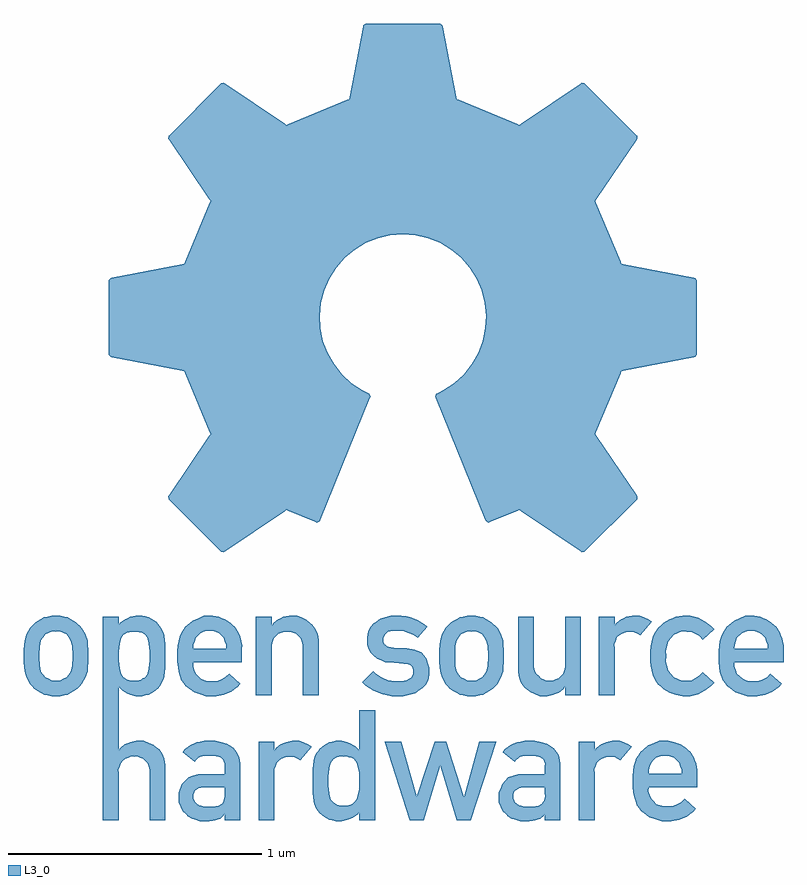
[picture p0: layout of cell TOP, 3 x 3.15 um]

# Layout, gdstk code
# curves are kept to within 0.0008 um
import gdstk
lib = gdstk.Library(unit=1e-6, precision=1e-09)
def P(c, l, *ps):  # polygons
    for p in ps: c.add(gdstk.Polygon(p, *l))
L1_0 = (1, 0)
L2_0 = (2, 0)
L3_0 = (3, 0)

top = lib.new_cell('TOP')
P(top, L3_0, [(0.789,1.063),(0.779,1.064),(0.57,1.273),(0.569,1.284),(0.736,1.53),(0.633,1.778),(0.341,1.835),(0.334,1.843),(0.334,2.138),(0.341,2.146),(0.633,2.202),(0.736,2.451),(0.572,2.692),(0.569,2.697),(0.57,2.708),(0.779,2.916),(0.789,2.917),(0.794,2.914),(1.036,2.751),(1.284,2.853),(1.34,3.145),(1.349,3.152),(1.643,3.152),(1.652,3.145),(1.708,2.853),(1.956,2.751),(2.198,2.914),(2.203,2.917),(2.213,2.916),(2.422,2.708),(2.423,2.697),(2.42,2.692),(2.256,2.451),(2.359,2.202),(2.651,2.146),(2.658,2.138),(2.658,1.843),(2.651,1.835),(2.359,1.778),(2.256,1.53),(2.423,1.284),(2.422,1.273),(2.213,1.064),(2.203,1.063),(2.198,1.066),(1.956,1.23),(1.836,1.18),(1.825,1.185),(1.626,1.673),(1.623,1.678),(1.628,1.69),(1.656,1.703),(1.699,1.731),(1.736,1.765),(1.768,1.805),(1.794,1.849),(1.812,1.897),(1.822,1.947),(1.825,1.998),(1.82,2.048),(1.807,2.098),(1.787,2.144),(1.76,2.187),(1.726,2.226),(1.687,2.258),(1.644,2.285),(1.596,2.304),(1.547,2.316),(1.496,2.32),(1.445,2.316),(1.396,2.304),(1.349,2.285),(1.305,2.258),(1.266,2.226),(1.232,2.187),(1.205,2.144),(1.185,2.098),(1.172,2.048),(1.167,1.998),(1.17,1.947),(1.18,1.897),(1.199,1.849),(1.224,1.805),(1.256,1.765),(1.293,1.731),(1.336,1.703),(1.364,1.69),(1.369,1.678),(1.366,1.673),(1.167,1.185),(1.156,1.18),(1.036,1.23)],
  [(1.523,0.004),(1.424,0.314),(1.49,0.314),(1.55,0.097),(1.551,0.097),(1.621,0.314),(1.667,0.314),(1.737,0.097),(1.738,0.097),(1.797,0.314),(1.864,0.314),(1.764,0.004),(1.709,0.004),(1.644,0.221),(1.643,0.221),(1.578,0.004)],
  [(0.694,-0.001),(0.663,0.01),(0.646,0.02),(0.64,0.027),(0.626,0.039),(0.611,0.075),(0.611,0.112),(0.619,0.135),(0.72,0.135),(0.708,0.134),(0.688,0.13),(0.674,0.12),(0.667,0.105),(0.668,0.089),(0.675,0.075),(0.689,0.063),(0.712,0.057),(0.725,0.058),(0.741,0.057),(0.769,0.061),(0.779,0.067),(0.788,0.078),(0.793,0.097),(0.793,0.135),(0.619,0.135),(0.623,0.146),(0.649,0.173),(0.687,0.186),(0.793,0.186),(0.793,0.228),(0.785,0.245),(0.778,0.25),(0.769,0.255),(0.745,0.259),(0.721,0.259),(0.703,0.257),(0.688,0.251),(0.677,0.241),(0.674,0.235),(0.626,0.272),(0.634,0.284),(0.656,0.301),(0.682,0.313),(0.712,0.318),(0.754,0.318),(0.8,0.307),(0.827,0.289),(0.84,0.273),(0.849,0.253),(0.853,0.228),(0.853,0.003),(0.793,0.003),(0.793,0.03),(0.792,0.03),(0.787,0.022),(0.774,0.01),(0.755,0.003),(0.731,-0.001)],
  [(0.926,0.004),(0.926,0.314),(0.988,0.314),(0.988,0.281),(0.996,0.29),(1.014,0.304),(1.035,0.313),(1.058,0.318),(1.087,0.318),(1.12,0.305),(1.135,0.294),(1.09,0.24),(1.08,0.247),(1.059,0.255),(1.037,0.255),(1.016,0.247),(0.997,0.232),(0.988,0.206),(0.988,0.004)],
  [(1.959,-0.001),(1.927,0.01),(1.911,0.02),(1.89,0.039),(1.875,0.075),(1.875,0.112),(1.884,0.135),(1.985,0.135),(1.973,0.134),(1.953,0.13),(1.939,0.12),(1.932,0.105),(1.932,0.089),(1.939,0.075),(1.953,0.063),(1.976,0.057),(1.989,0.058),(2.006,0.057),(2.033,0.061),(2.047,0.07),(2.052,0.078),(2.058,0.097),(2.057,0.135),(1.884,0.135),(1.888,0.146),(1.913,0.173),(1.952,0.186),(2.057,0.186),(2.058,0.228),(2.05,0.245),(2.033,0.255),(2.009,0.259),(1.986,0.259),(1.968,0.257),(1.953,0.251),(1.942,0.241),(1.938,0.235),(1.891,0.272),(1.899,0.284),(1.921,0.301),(1.947,0.313),(1.977,0.318),(2.018,0.318),(2.065,0.307),(2.092,0.289),(2.105,0.273),(2.113,0.253),(2.118,0.228),(2.118,0.003),(2.057,0.003),(2.057,0.03),(2.056,0.03),(2.052,0.022),(2.039,0.01),(2.02,0.003),(1.995,-0.001)],
  [(2.191,0.004),(2.191,0.314),(2.254,0.314),(2.254,0.281),(2.262,0.29),(2.279,0.304),(2.3,0.313),(2.324,0.318),(2.353,0.318),(2.386,0.305),(2.4,0.294),(2.355,0.24),(2.346,0.247),(2.325,0.255),(2.303,0.255),(2.281,0.247),(2.263,0.232),(2.253,0.206),(2.254,0.19),(2.254,0.004)],
  [(2.518,0),(2.47,0.016),(2.438,0.039),(2.421,0.064),(2.41,0.096),(2.407,0.114),(2.404,0.136),(2.404,0.179),(2.409,0.217),(2.419,0.249),(2.426,0.259),(2.519,0.259),(2.495,0.25),(2.477,0.231),(2.467,0.203),(2.467,0.187),(2.598,0.187),(2.597,0.203),(2.588,0.231),(2.569,0.25),(2.545,0.259),(2.426,0.259),(2.435,0.274),(2.465,0.3),(2.509,0.318),(2.545,0.318),(2.569,0.313),(2.58,0.309),(2.592,0.304),(2.613,0.291),(2.631,0.274),(2.646,0.253),(2.655,0.228),(2.66,0.201),(2.66,0.135),(2.467,0.135),(2.466,0.118),(2.477,0.088),(2.498,0.068),(2.526,0.059),(2.56,0.059),(2.595,0.075),(2.609,0.089),(2.654,0.05),(2.643,0.037),(2.617,0.018),(2.588,0.006),(2.557,0)],
  [(1.231,0),(1.205,0.006),(1.185,0.017),(1.168,0.031),(1.154,0.049),(1.145,0.069),(1.141,0.095),(1.139,0.135),(1.14,0.208),(1.141,0.223),(1.145,0.249),(1.148,0.256),(1.273,0.256),(1.263,0.255),(1.253,0.256),(1.235,0.252),(1.221,0.244),(1.212,0.232),(1.206,0.209),(1.201,0.176),(1.201,0.143),(1.206,0.109),(1.212,0.085),(1.221,0.074),(1.235,0.066),(1.253,0.062),(1.273,0.062),(1.291,0.066),(1.304,0.074),(1.314,0.086),(1.315,0.094),(1.324,0.126),(1.324,0.192),(1.314,0.231),(1.304,0.244),(1.291,0.252),(1.273,0.256),(1.148,0.256),(1.154,0.269),(1.168,0.286),(1.185,0.301),(1.205,0.312),(1.231,0.318),(1.255,0.318),(1.277,0.313),(1.308,0.297),(1.324,0.281),(1.324,0.439),(1.387,0.439),(1.387,0.004),(1.324,0.004),(1.324,0.036),(1.317,0.028),(1.298,0.014),(1.288,0.009),(1.277,0.005),(1.255,0)],
  [(2.037,0.494),(2.001,0.509),(1.977,0.528),(1.964,0.545),(1.956,0.566),(1.952,0.589),(1.952,0.808),(2.014,0.808),(2.014,0.609),(2.023,0.583),(2.04,0.565),(2.063,0.556),(2.088,0.556),(2.111,0.565),(2.129,0.583),(2.133,0.595),(2.137,0.609),(2.137,0.808),(2.199,0.808),(2.199,0.498),(2.137,0.498),(2.137,0.531),(2.136,0.531),(2.129,0.522),(2.111,0.508),(2.091,0.499),(2.067,0.494)],
  [(0.109,0.494),(0.079,0.5),(0.056,0.513),(0.046,0.52),(0.038,0.526),(0.022,0.543),(0.009,0.566),(0.001,0.593),(-0.003,0.631),(-0.003,0.675),(-0.001,0.697),(0.001,0.713),(0.005,0.728),(0.009,0.74),(0.015,0.75),(0.141,0.75),(0.125,0.749),(0.11,0.75),(0.083,0.738),(0.066,0.715),(0.061,0.691),(0.06,0.667),(0.061,0.615),(0.066,0.591),(0.083,0.568),(0.096,0.562),(0.11,0.556),(0.141,0.556),(0.167,0.568),(0.184,0.591),(0.189,0.614),(0.191,0.638),(0.19,0.681),(0.189,0.691),(0.184,0.714),(0.167,0.738),(0.141,0.75),(0.015,0.75),(0.022,0.762),(0.038,0.779),(0.056,0.793),(0.078,0.806),(0.109,0.812),(0.142,0.812),(0.172,0.806),(0.204,0.786),(0.228,0.762),(0.241,0.74),(0.25,0.713),(0.253,0.675),(0.253,0.631),(0.25,0.593),(0.241,0.566),(0.228,0.543),(0.212,0.526),(0.204,0.52),(0.172,0.5),(0.142,0.494)],
  [(0.31,0.004),(0.31,0.749),(0.424,0.749),(0.406,0.746),(0.392,0.737),(0.383,0.725),(0.377,0.702),(0.373,0.669),(0.373,0.636),(0.377,0.603),(0.383,0.58),(0.392,0.568),(0.406,0.56),(0.424,0.556),(0.444,0.556),(0.454,0.558),(0.462,0.56),(0.476,0.567),(0.485,0.579),(0.491,0.603),(0.496,0.636),(0.496,0.669),(0.491,0.703),(0.485,0.726),(0.476,0.738),(0.462,0.746),(0.444,0.749),(0.31,0.749),(0.31,0.808),(0.373,0.808),(0.373,0.775),(0.38,0.784),(0.399,0.798),(0.419,0.807),(0.441,0.812),(0.466,0.812),(0.491,0.806),(0.522,0.789),(0.542,0.763),(0.551,0.743),(0.556,0.717),(0.558,0.677),(0.558,0.628),(0.556,0.588),(0.551,0.562),(0.542,0.543),(0.536,0.534),(0.529,0.525),(0.512,0.511),(0.491,0.5),(0.466,0.494),(0.441,0.494),(0.419,0.499),(0.389,0.515),(0.373,0.531),(0.373,0.281),(0.381,0.29),(0.398,0.304),(0.419,0.313),(0.443,0.318),(0.473,0.318),(0.509,0.303),(0.524,0.29),(0.533,0.284),(0.55,0.257),(0.554,0.246),(0.558,0.223),(0.558,0.004),(0.496,0.004),(0.496,0.203),(0.487,0.229),(0.47,0.246),(0.447,0.256),(0.434,0.255),(0.422,0.256),(0.399,0.246),(0.381,0.229),(0.372,0.203),(0.373,0.189),(0.373,0.004)],
  [(0.718,0.494),(0.671,0.51),(0.638,0.533),(0.621,0.557),(0.61,0.59),(0.605,0.63),(0.605,0.673),(0.61,0.711),(0.62,0.743),(0.626,0.753),(0.72,0.753),(0.695,0.743),(0.677,0.724),(0.667,0.697),(0.667,0.681),(0.798,0.681),(0.798,0.697),(0.788,0.724),(0.77,0.743),(0.746,0.753),(0.626,0.753),(0.636,0.768),(0.665,0.793),(0.71,0.812),(0.745,0.812),(0.769,0.807),(0.781,0.803),(0.792,0.798),(0.813,0.785),(0.832,0.768),(0.846,0.746),(0.856,0.722),(0.861,0.694),(0.86,0.629),(0.667,0.629),(0.667,0.612),(0.677,0.582),(0.698,0.562),(0.712,0.557),(0.726,0.553),(0.76,0.553),(0.795,0.568),(0.809,0.583),(0.854,0.544),(0.843,0.531),(0.817,0.512),(0.788,0.5),(0.758,0.494)],
  [(0.915,0.498),(0.915,0.808),(0.977,0.808),(0.977,0.775),(0.979,0.775),(0.985,0.784),(1.003,0.798),(1.024,0.807),(1.047,0.812),(1.078,0.812),(1.114,0.797),(1.137,0.777),(1.15,0.76),(1.159,0.74),(1.163,0.717),(1.163,0.498),(1.1,0.498),(1.1,0.683),(1.101,0.697),(1.092,0.723),(1.074,0.74),(1.052,0.749),(1.027,0.749),(1.003,0.74),(0.986,0.723),(0.977,0.697),(0.977,0.498)],
  [(1.453,0.494),(1.417,0.501),(1.381,0.515),(1.349,0.536),(1.336,0.549),(1.379,0.593),(1.389,0.583),(1.411,0.568),(1.437,0.558),(1.463,0.553),(1.489,0.553),(1.512,0.557),(1.529,0.567),(1.534,0.575),(1.538,0.583),(1.538,0.599),(1.536,0.605),(1.529,0.614),(1.523,0.618),(1.517,0.62),(1.5,0.623),(1.427,0.629),(1.394,0.642),(1.369,0.665),(1.362,0.68),(1.356,0.698),(1.356,0.727),(1.36,0.748),(1.368,0.766),(1.381,0.782),(1.406,0.8),(1.448,0.812),(1.49,0.812),(1.526,0.806),(1.555,0.795),(1.581,0.779),(1.593,0.769),(1.555,0.724),(1.537,0.736),(1.495,0.753),(1.459,0.753),(1.437,0.748),(1.424,0.737),(1.418,0.723),(1.418,0.71),(1.423,0.7),(1.432,0.692),(1.449,0.687),(1.522,0.682),(1.543,0.677),(1.569,0.667),(1.59,0.64),(1.601,0.607),(1.601,0.579),(1.596,0.558),(1.586,0.54),(1.572,0.525),(1.544,0.506),(1.497,0.494)],
  [(1.751,0.494),(1.721,0.5),(1.698,0.513),(1.688,0.52),(1.68,0.526),(1.664,0.543),(1.651,0.566),(1.643,0.593),(1.639,0.631),(1.639,0.675),(1.641,0.697),(1.643,0.713),(1.647,0.728),(1.651,0.74),(1.657,0.75),(1.783,0.75),(1.767,0.749),(1.752,0.75),(1.725,0.738),(1.708,0.715),(1.703,0.691),(1.702,0.667),(1.703,0.615),(1.708,0.591),(1.725,0.568),(1.738,0.562),(1.752,0.556),(1.783,0.556),(1.809,0.568),(1.826,0.591),(1.831,0.614),(1.833,0.638),(1.832,0.681),(1.831,0.691),(1.826,0.714),(1.809,0.738),(1.783,0.75),(1.657,0.75),(1.664,0.762),(1.68,0.779),(1.698,0.793),(1.72,0.806),(1.751,0.812),(1.784,0.812),(1.814,0.806),(1.846,0.786),(1.87,0.762),(1.883,0.74),(1.892,0.713),(1.895,0.675),(1.895,0.631),(1.892,0.593),(1.883,0.566),(1.87,0.543),(1.854,0.526),(1.846,0.52),(1.814,0.5),(1.784,0.494)],
  [(2.27,0.498),(2.27,0.808),(2.333,0.808),(2.333,0.775),(2.341,0.784),(2.358,0.798),(2.379,0.807),(2.403,0.812),(2.432,0.812),(2.465,0.799),(2.479,0.788),(2.434,0.734),(2.425,0.741),(2.404,0.749),(2.382,0.749),(2.36,0.741),(2.342,0.726),(2.332,0.699),(2.333,0.684),(2.333,0.498)],
  [(2.601,0.494),(2.575,0.499),(2.55,0.508),(2.527,0.522),(2.506,0.54),(2.489,0.565),(2.479,0.596),(2.473,0.633),(2.473,0.672),(2.479,0.709),(2.489,0.74),(2.506,0.765),(2.527,0.784),(2.55,0.798),(2.575,0.807),(2.601,0.812),(2.631,0.812),(2.663,0.804),(2.691,0.789),(2.715,0.77),(2.726,0.758),(2.68,0.717),(2.668,0.732),(2.635,0.749),(2.598,0.75),(2.566,0.737),(2.545,0.712),(2.535,0.674),(2.536,0.653),(2.535,0.631),(2.545,0.594),(2.566,0.568),(2.598,0.556),(2.635,0.556),(2.668,0.574),(2.68,0.589),(2.726,0.548),(2.715,0.536),(2.691,0.517),(2.663,0.502),(2.631,0.494)],
  [(2.857,0.494),(2.81,0.51),(2.777,0.533),(2.76,0.557),(2.749,0.59),(2.744,0.63),(2.744,0.673),(2.749,0.711),(2.759,0.743),(2.765,0.753),(2.859,0.753),(2.835,0.743),(2.816,0.724),(2.807,0.697),(2.806,0.681),(2.937,0.681),(2.937,0.697),(2.927,0.724),(2.909,0.743),(2.885,0.753),(2.765,0.753),(2.775,0.768),(2.805,0.793),(2.849,0.812),(2.884,0.812),(2.908,0.807),(2.92,0.803),(2.931,0.798),(2.952,0.785),(2.971,0.768),(2.985,0.746),(2.995,0.722),(3,0.694),(3,0.629),(2.806,0.629),(2.806,0.612),(2.816,0.582),(2.838,0.562),(2.851,0.557),(2.865,0.553),(2.899,0.553),(2.935,0.568),(2.948,0.583),(2.994,0.544),(2.983,0.531),(2.956,0.512),(2.927,0.5),(2.897,0.494)])
top.add(gdstk.FlexPath([(2.191,0.004),(2.191,0.314),(2.254,0.314),(2.254,0.281),(2.255,0.281),(2.262,0.29),(2.279,0.304),(2.29,0.309),(2.3,0.313),(2.324,0.318),(2.336,0.318),(2.344,0.318),(2.361,0.315),(2.369,0.312),(2.377,0.309),(2.393,0.3),(2.4,0.294),(2.355,0.24),(2.346,0.247),(2.335,0.252),(2.325,0.255),(2.314,0.255),(2.306,0.255),(2.292,0.252),(2.278,0.245),(2.272,0.24),(2.268,0.236),(2.26,0.226),(2.258,0.22),(2.256,0.213),(2.253,0.198),(2.254,0.19),(2.254,0.004),(2.191,0.004),(2.191,0.004)], 0, ends="flush", simple_path=True, layer=1, datatype=0))  # L1_0
top.add(gdstk.FlexPath([(1.263,0.255),(1.253,0.256),(1.243,0.254),(1.235,0.252),(1.228,0.248),(1.221,0.244),(1.212,0.232),(1.21,0.225),(1.206,0.209),(1.201,0.176),(1.201,0.159),(1.201,0.143),(1.206,0.109),(1.21,0.093),(1.212,0.085),(1.221,0.074),(1.228,0.07),(1.235,0.066),(1.243,0.064),(1.253,0.062),(1.263,0.062),(1.273,0.062),(1.283,0.064),(1.291,0.066),(1.298,0.07),(1.304,0.074),(1.314,0.086),(1.315,0.094),(1.32,0.11),(1.324,0.143),(1.324,0.159),(1.324,0.176),(1.32,0.208),(1.315,0.224),(1.314,0.231),(1.304,0.244),(1.298,0.248),(1.291,0.252),(1.283,0.253),(1.273,0.256),(1.263,0.255),(1.263,0.255)], 0, ends="flush", simple_path=True, layer=1, datatype=0))  # L1_0
top.add(gdstk.FlexPath([(1.709,0.004),(1.644,0.221),(1.643,0.221),(1.578,0.004),(1.523,0.004),(1.424,0.314),(1.49,0.314),(1.55,0.097),(1.551,0.097),(1.621,0.314),(1.667,0.314),(1.737,0.097),(1.738,0.097),(1.797,0.314),(1.864,0.314),(1.764,0.004),(1.709,0.004),(1.709,0.004)], 0, ends="flush", simple_path=True, layer=1, datatype=0))  # L1_0
top.add(gdstk.FlexPath([(0.86,0.629),(0.667,0.629),(0.667,0.621),(0.67,0.604),(0.672,0.596),(0.675,0.589),(0.683,0.577),(0.688,0.572),(0.693,0.567),(0.705,0.56),(0.712,0.557),(0.719,0.555),(0.734,0.553),(0.741,0.553),(0.75,0.553),(0.769,0.556),(0.777,0.56),(0.786,0.564),(0.802,0.576),(0.809,0.583),(0.854,0.544),(0.843,0.531),(0.83,0.521),(0.817,0.512),(0.802,0.506),(0.788,0.5),(0.758,0.494),(0.742,0.494),(0.73,0.494),(0.707,0.498),(0.695,0.502),(0.683,0.506),(0.66,0.518),(0.65,0.525),(0.644,0.529),(0.634,0.539),(0.63,0.545),(0.626,0.551),(0.619,0.565),(0.616,0.572),(0.61,0.59),(0.608,0.608),(0.605,0.63),(0.605,0.652),(0.605,0.673),(0.607,0.694),(0.61,0.711),(0.615,0.728),(0.62,0.743),(0.628,0.756),(0.632,0.762),(0.641,0.773),(0.646,0.777),(0.656,0.785),(0.677,0.798),(0.689,0.803),(0.699,0.807),(0.721,0.812),(0.733,0.812),(0.745,0.812),(0.769,0.807),(0.781,0.803),(0.792,0.798),(0.813,0.785),(0.822,0.776),(0.832,0.768),(0.846,0.746),(0.851,0.735),(0.856,0.722),(0.861,0.694),(0.86,0.681),(0.86,0.629),(0.86,0.629)], 0, ends="flush", simple_path=True, layer=1, datatype=0))  # L1_0
top.add(gdstk.FlexPath([(-0.003,0.653),(-0.003,0.675),(-0.001,0.697),(0.001,0.713),(0.005,0.728),(0.009,0.74),(0.022,0.762),(0.031,0.772),(0.038,0.779),(0.046,0.786),(0.056,0.793),(0.066,0.799),(0.072,0.802),(0.085,0.807),(0.092,0.808),(0.109,0.812),(0.125,0.812),(0.142,0.812),(0.158,0.808),(0.172,0.806),(0.184,0.799),(0.194,0.793),(0.204,0.786),(0.212,0.779),(0.219,0.772),(0.228,0.762),(0.241,0.74),(0.245,0.728),(0.25,0.713),(0.251,0.697),(0.253,0.675),(0.253,0.653),(0.253,0.631),(0.251,0.609),(0.25,0.593),(0.245,0.578),(0.241,0.566),(0.228,0.543),(0.219,0.534),(0.212,0.526),(0.204,0.52),(0.194,0.513),(0.184,0.507),(0.178,0.503),(0.165,0.499),(0.158,0.497),(0.142,0.494),(0.125,0.494),(0.109,0.494),(0.092,0.497),(0.079,0.5),(0.066,0.507),(0.056,0.513),(0.046,0.52),(0.038,0.526),(0.031,0.534),(0.022,0.543),(0.009,0.566),(0.005,0.578),(0.001,0.593),(-0.001,0.609),(-0.003,0.631),(-0.003,0.653),(-0.003,0.653)], 0, ends="flush", simple_path=True, layer=1, datatype=0))  # L1_0
top.add(gdstk.FlexPath([(1.639,0.653),(1.639,0.675),(1.641,0.697),(1.643,0.713),(1.647,0.728),(1.651,0.74),(1.664,0.762),(1.673,0.772),(1.68,0.779),(1.688,0.786),(1.698,0.793),(1.708,0.799),(1.714,0.802),(1.727,0.807),(1.734,0.808),(1.751,0.812),(1.767,0.812),(1.784,0.812),(1.8,0.808),(1.814,0.806),(1.826,0.799),(1.836,0.793),(1.846,0.786),(1.854,0.779),(1.861,0.772),(1.87,0.762),(1.883,0.74),(1.887,0.728),(1.892,0.713),(1.893,0.697),(1.895,0.675),(1.895,0.653),(1.895,0.631),(1.893,0.609),(1.892,0.593),(1.887,0.578),(1.883,0.566),(1.87,0.543),(1.861,0.534),(1.854,0.526),(1.846,0.52),(1.836,0.513),(1.826,0.507),(1.82,0.503),(1.807,0.499),(1.8,0.497),(1.784,0.494),(1.767,0.494),(1.751,0.494),(1.734,0.497),(1.721,0.5),(1.708,0.507),(1.698,0.513),(1.688,0.52),(1.68,0.526),(1.673,0.534),(1.664,0.543),(1.651,0.566),(1.647,0.578),(1.643,0.593),(1.641,0.609),(1.639,0.631),(1.639,0.653),(1.639,0.653)], 0, ends="flush", simple_path=True, layer=1, datatype=0))  # L1_0
top.add(gdstk.FlexPath([(0.793,0.003),(0.793,0.03),(0.792,0.03),(0.787,0.022),(0.774,0.01),(0.766,0.007),(0.755,0.003),(0.744,0.001),(0.731,-0.001),(0.717,-0.001),(0.706,-0.001),(0.683,0.003),(0.672,0.007),(0.663,0.01),(0.646,0.02),(0.64,0.027),(0.633,0.033),(0.622,0.048),(0.618,0.057),(0.614,0.065),(0.611,0.084),(0.611,0.094),(0.611,0.103),(0.614,0.121),(0.617,0.13),(0.62,0.138),(0.63,0.153),(0.636,0.159),(0.642,0.166),(0.658,0.176),(0.666,0.179),(0.677,0.183),(0.698,0.186),(0.709,0.186),(0.793,0.186),(0.793,0.219),(0.793,0.223),(0.791,0.233),(0.789,0.237),(0.787,0.241),(0.781,0.247),(0.778,0.25),(0.773,0.252),(0.763,0.256),(0.758,0.257),(0.745,0.259),(0.731,0.259),(0.721,0.259),(0.711,0.258),(0.703,0.257),(0.695,0.254),(0.688,0.251),(0.677,0.241),(0.674,0.235),(0.626,0.272),(0.634,0.284),(0.656,0.301),(0.669,0.307),(0.682,0.313),(0.696,0.315),(0.712,0.318),(0.728,0.318),(0.741,0.318),(0.766,0.315),(0.779,0.312),(0.79,0.31),(0.81,0.301),(0.819,0.295),(0.827,0.289),(0.84,0.273),(0.844,0.264),(0.849,0.253),(0.851,0.241),(0.853,0.228),(0.853,0.215),(0.853,0.003),(0.793,0.003),(0.793,0.003)], 0, ends="flush", simple_path=True, layer=1, datatype=0))  # L1_0
top.add(gdstk.FlexPath([(0.667,0.681),(0.798,0.681),(0.798,0.689),(0.795,0.704),(0.793,0.712),(0.79,0.718),(0.783,0.729),(0.778,0.734),(0.774,0.739),(0.764,0.746),(0.758,0.748),(0.752,0.751),(0.739,0.753),(0.733,0.753),(0.726,0.753),(0.713,0.751),(0.707,0.748),(0.701,0.746),(0.691,0.739),(0.687,0.734),(0.682,0.729),(0.675,0.718),(0.673,0.712),(0.67,0.704),(0.667,0.689),(0.667,0.681),(0.667,0.681)], 0, ends="flush", simple_path=True, layer=1, datatype=0))  # L1_0
top.add(gdstk.FlexPath([(0.793,0.112),(0.793,0.135),(0.72,0.135),(0.708,0.134),(0.697,0.132),(0.688,0.13),(0.68,0.124),(0.674,0.12),(0.671,0.113),(0.667,0.105),(0.668,0.097),(0.668,0.089),(0.671,0.082),(0.675,0.075),(0.681,0.07),(0.685,0.067),(0.694,0.062),(0.699,0.061),(0.712,0.057),(0.725,0.058),(0.741,0.057),(0.757,0.06),(0.763,0.061),(0.774,0.064),(0.779,0.067),(0.782,0.07),(0.785,0.074),(0.788,0.078),(0.789,0.083),(0.791,0.09),(0.793,0.105),(0.793,0.112),(0.793,0.112)], 0, ends="flush", simple_path=True, layer=1, datatype=0))  # L1_0
top.add(gdstk.FlexPath([(2.68,0.589),(2.726,0.548),(2.715,0.536),(2.691,0.517),(2.677,0.509),(2.67,0.505),(2.655,0.5),(2.648,0.498),(2.639,0.496),(2.623,0.494),(2.614,0.494),(2.601,0.494),(2.575,0.499),(2.563,0.503),(2.55,0.508),(2.527,0.522),(2.517,0.531),(2.506,0.54),(2.498,0.552),(2.489,0.565),(2.484,0.579),(2.479,0.596),(2.476,0.613),(2.473,0.633),(2.473,0.653),(2.473,0.672),(2.476,0.692),(2.479,0.709),(2.484,0.726),(2.489,0.74),(2.498,0.753),(2.506,0.765),(2.517,0.775),(2.527,0.784),(2.55,0.798),(2.563,0.802),(2.575,0.807),(2.601,0.812),(2.614,0.812),(2.623,0.812),(2.639,0.81),(2.648,0.808),(2.655,0.806),(2.67,0.8),(2.677,0.796),(2.691,0.789),(2.715,0.77),(2.726,0.758),(2.68,0.717),(2.674,0.724),(2.659,0.737),(2.651,0.741),(2.643,0.745),(2.625,0.749),(2.617,0.749),(2.607,0.749),(2.59,0.746),(2.581,0.743),(2.574,0.74),(2.561,0.731),(2.556,0.725),(2.551,0.718),(2.543,0.703),(2.541,0.695),(2.538,0.684),(2.536,0.663),(2.536,0.653),(2.536,0.642),(2.538,0.621),(2.541,0.61),(2.543,0.602),(2.551,0.587),(2.556,0.58),(2.561,0.574),(2.574,0.565),(2.581,0.562),(2.59,0.559),(2.607,0.556),(2.617,0.556),(2.625,0.556),(2.643,0.56),(2.651,0.564),(2.659,0.569),(2.674,0.581),(2.68,0.589),(2.68,0.589)], 0, ends="flush", simple_path=True, layer=1, datatype=0))  # L1_0
top.add(gdstk.FlexPath([(0.191,0.653),(0.191,0.667),(0.19,0.681),(0.189,0.691),(0.187,0.7),(0.186,0.707),(0.18,0.72),(0.175,0.726),(0.172,0.732),(0.161,0.741),(0.155,0.744),(0.148,0.747),(0.133,0.749),(0.125,0.749),(0.118,0.749),(0.103,0.747),(0.096,0.744),(0.089,0.741),(0.079,0.732),(0.075,0.726),(0.071,0.721),(0.065,0.707),(0.063,0.7),(0.061,0.691),(0.061,0.682),(0.06,0.667),(0.06,0.653),(0.06,0.639),(0.061,0.624),(0.061,0.615),(0.063,0.605),(0.065,0.598),(0.071,0.585),(0.075,0.579),(0.079,0.573),(0.089,0.565),(0.096,0.562),(0.103,0.559),(0.118,0.556),(0.125,0.556),(0.133,0.556),(0.148,0.559),(0.155,0.562),(0.161,0.565),(0.172,0.574),(0.175,0.579),(0.18,0.585),(0.186,0.598),(0.187,0.605),(0.189,0.614),(0.19,0.624),(0.191,0.638),(0.191,0.653),(0.191,0.653)], 0, ends="flush", simple_path=True, layer=1, datatype=0))  # L1_0
top.add(gdstk.FlexPath([(1.833,0.653),(1.833,0.667),(1.832,0.681),(1.831,0.691),(1.829,0.7),(1.828,0.707),(1.822,0.72),(1.817,0.726),(1.813,0.732),(1.803,0.741),(1.797,0.744),(1.79,0.747),(1.775,0.749),(1.767,0.749),(1.76,0.749),(1.745,0.747),(1.738,0.744),(1.731,0.741),(1.721,0.732),(1.717,0.726),(1.713,0.721),(1.707,0.707),(1.705,0.7),(1.703,0.691),(1.703,0.682),(1.702,0.667),(1.702,0.653),(1.702,0.639),(1.703,0.624),(1.703,0.615),(1.705,0.605),(1.707,0.598),(1.713,0.585),(1.717,0.579),(1.721,0.573),(1.731,0.565),(1.738,0.562),(1.745,0.559),(1.76,0.556),(1.767,0.556),(1.775,0.556),(1.79,0.559),(1.797,0.562),(1.803,0.565),(1.813,0.574),(1.817,0.579),(1.822,0.585),(1.828,0.598),(1.829,0.605),(1.831,0.614),(1.832,0.624),(1.833,0.638),(1.833,0.653),(1.833,0.653)], 0, ends="flush", simple_path=True, layer=1, datatype=0))  # L1_0
top.add(gdstk.FlexPath([(0.915,0.498),(0.915,0.808),(0.977,0.808),(0.977,0.775),(0.979,0.775),(0.985,0.784),(1.003,0.798),(1.013,0.802),(1.024,0.807),(1.047,0.812),(1.059,0.812),(1.068,0.812),(1.086,0.808),(1.095,0.805),(1.104,0.801),(1.121,0.791),(1.129,0.784),(1.137,0.777),(1.15,0.76),(1.154,0.75),(1.159,0.74),(1.161,0.729),(1.163,0.717),(1.163,0.704),(1.163,0.498),(1.1,0.498),(1.1,0.683),(1.1,0.69),(1.098,0.704),(1.096,0.711),(1.094,0.716),(1.087,0.727),(1.083,0.732),(1.079,0.736),(1.069,0.743),(1.063,0.745),(1.057,0.747),(1.045,0.749),(1.039,0.749),(1.033,0.749),(1.021,0.747),(1.015,0.745),(1.009,0.743),(0.999,0.736),(0.995,0.732),(0.99,0.727),(0.984,0.716),(0.982,0.711),(0.979,0.704),(0.977,0.69),(0.977,0.683),(0.977,0.498),(0.915,0.498),(0.915,0.498)], 0, ends="flush", simple_path=True, layer=1, datatype=0))  # L1_0
top.add(gdstk.FlexPath([(2.057,0.003),(2.057,0.03),(2.056,0.03),(2.052,0.022),(2.039,0.01),(2.03,0.007),(2.02,0.003),(2.009,0.001),(1.995,-0.001),(1.982,-0.001),(1.97,-0.001),(1.948,0.003),(1.937,0.007),(1.927,0.01),(1.911,0.02),(1.904,0.027),(1.897,0.033),(1.886,0.048),(1.883,0.057),(1.879,0.065),(1.875,0.084),(1.875,0.094),(1.875,0.103),(1.878,0.121),(1.882,0.13),(1.885,0.138),(1.894,0.153),(1.9,0.159),(1.907,0.166),(1.922,0.176),(1.931,0.179),(1.941,0.183),(1.963,0.186),(1.973,0.186),(2.057,0.186),(2.057,0.219),(2.058,0.223),(2.056,0.233),(2.054,0.237),(2.052,0.241),(2.046,0.247),(2.042,0.25),(2.038,0.252),(2.028,0.256),(2.023,0.257),(2.009,0.259),(1.995,0.259),(1.986,0.259),(1.976,0.258),(1.968,0.257),(1.96,0.254),(1.953,0.251),(1.942,0.241),(1.938,0.235),(1.891,0.272),(1.899,0.284),(1.921,0.301),(1.933,0.307),(1.947,0.313),(1.961,0.315),(1.977,0.318),(1.992,0.318),(2.005,0.318),(2.031,0.315),(2.043,0.312),(2.054,0.31),(2.074,0.301),(2.083,0.295),(2.092,0.289),(2.105,0.273),(2.109,0.264),(2.113,0.253),(2.115,0.241),(2.118,0.228),(2.118,0.215),(2.118,0.003),(2.057,0.003),(2.057,0.003)], 0, ends="flush", simple_path=True, layer=1, datatype=0))  # L1_0
top.add(gdstk.FlexPath([(2.66,0.135),(2.467,0.135),(2.467,0.127),(2.469,0.11),(2.472,0.102),(2.474,0.095),(2.482,0.083),(2.488,0.078),(2.493,0.073),(2.505,0.066),(2.511,0.064),(2.518,0.061),(2.533,0.059),(2.541,0.059),(2.55,0.059),(2.568,0.063),(2.577,0.066),(2.586,0.07),(2.602,0.082),(2.609,0.089),(2.654,0.05),(2.643,0.037),(2.629,0.027),(2.617,0.018),(2.602,0.012),(2.588,0.006),(2.557,0),(2.542,0),(2.53,0),(2.506,0.004),(2.495,0.008),(2.483,0.012),(2.46,0.024),(2.449,0.031),(2.443,0.035),(2.434,0.045),(2.43,0.051),(2.425,0.057),(2.418,0.071),(2.416,0.078),(2.41,0.096),(2.407,0.114),(2.404,0.136),(2.404,0.158),(2.404,0.179),(2.407,0.2),(2.409,0.217),(2.415,0.235),(2.419,0.249),(2.428,0.262),(2.431,0.268),(2.44,0.279),(2.446,0.283),(2.455,0.291),(2.477,0.304),(2.488,0.309),(2.499,0.313),(2.521,0.318),(2.532,0.318),(2.545,0.318),(2.569,0.313),(2.58,0.309),(2.592,0.304),(2.613,0.291),(2.622,0.282),(2.631,0.274),(2.646,0.253),(2.65,0.241),(2.655,0.228),(2.66,0.201),(2.66,0.187),(2.66,0.135),(2.66,0.135)], 0, ends="flush", simple_path=True, layer=1, datatype=0))  # L1_0
top.add(gdstk.FlexPath([(0.926,0.004),(0.926,0.314),(0.988,0.314),(0.988,0.281),(0.989,0.281),(0.996,0.29),(1.014,0.304),(1.024,0.309),(1.035,0.313),(1.058,0.318),(1.07,0.318),(1.079,0.318),(1.095,0.315),(1.103,0.312),(1.112,0.309),(1.128,0.3),(1.135,0.294),(1.09,0.24),(1.08,0.247),(1.069,0.252),(1.059,0.255),(1.049,0.255),(1.041,0.255),(1.026,0.252),(1.013,0.245),(1.007,0.24),(1.002,0.236),(0.995,0.226),(0.993,0.22),(0.99,0.213),(0.988,0.198),(0.988,0.19),(0.988,0.004),(0.926,0.004),(0.926,0.004)], 0, ends="flush", simple_path=True, layer=1, datatype=0))  # L1_0
top.add(gdstk.FlexPath([(2.467,0.187),(2.598,0.187),(2.598,0.195),(2.595,0.21),(2.592,0.218),(2.59,0.224),(2.583,0.236),(2.578,0.24),(2.574,0.245),(2.563,0.252),(2.557,0.254),(2.551,0.257),(2.539,0.259),(2.532,0.259),(2.526,0.259),(2.513,0.257),(2.507,0.254),(2.501,0.252),(2.491,0.245),(2.486,0.24),(2.481,0.236),(2.474,0.224),(2.472,0.218),(2.47,0.21),(2.467,0.195),(2.467,0.187),(2.467,0.187)], 0, ends="flush", simple_path=True, layer=1, datatype=0))  # L1_0
top.add(gdstk.FlexPath([(2.057,0.112),(2.057,0.135),(1.985,0.135),(1.973,0.134),(1.961,0.132),(1.953,0.13),(1.945,0.124),(1.939,0.12),(1.935,0.113),(1.932,0.105),(1.932,0.097),(1.932,0.089),(1.936,0.082),(1.939,0.075),(1.946,0.07),(1.95,0.067),(1.958,0.062),(1.963,0.061),(1.976,0.057),(1.989,0.058),(2.006,0.057),(2.022,0.06),(2.027,0.061),(2.038,0.064),(2.043,0.067),(2.047,0.07),(2.049,0.074),(2.052,0.078),(2.054,0.083),(2.056,0.09),(2.058,0.105),(2.057,0.112),(2.057,0.112)], 0, ends="flush", simple_path=True, layer=1, datatype=0))  # L1_0
top.add(gdstk.FlexPath([(1.952,0.602),(1.952,0.808),(2.014,0.808),(2.014,0.623),(2.014,0.616),(2.016,0.602),(2.018,0.595),(2.021,0.589),(2.027,0.578),(2.032,0.574),(2.036,0.57),(2.046,0.563),(2.051,0.561),(2.057,0.558),(2.07,0.556),(2.076,0.556),(2.082,0.556),(2.094,0.558),(2.1,0.561),(2.105,0.563),(2.115,0.57),(2.12,0.574),(2.124,0.578),(2.131,0.589),(2.133,0.595),(2.135,0.602),(2.137,0.616),(2.137,0.623),(2.137,0.808),(2.199,0.808),(2.199,0.498),(2.137,0.498),(2.137,0.531),(2.136,0.531),(2.129,0.522),(2.111,0.508),(2.101,0.503),(2.091,0.499),(2.067,0.494),(2.056,0.494),(2.046,0.494),(2.028,0.498),(2.02,0.501),(2.01,0.505),(1.993,0.515),(1.985,0.522),(1.977,0.528),(1.964,0.545),(1.96,0.555),(1.956,0.566),(1.954,0.577),(1.952,0.589),(1.952,0.602),(1.952,0.602)], 0, ends="flush", simple_path=True, layer=1, datatype=0))  # L1_0
top.add(gdstk.FlexPath([(2.27,0.498),(2.27,0.808),(2.333,0.808),(2.333,0.775),(2.334,0.775),(2.341,0.784),(2.358,0.798),(2.369,0.802),(2.379,0.807),(2.403,0.812),(2.415,0.812),(2.423,0.812),(2.44,0.809),(2.448,0.806),(2.456,0.802),(2.472,0.793),(2.479,0.788),(2.434,0.734),(2.425,0.741),(2.414,0.745),(2.404,0.749),(2.393,0.749),(2.386,0.749),(2.371,0.746),(2.357,0.739),(2.351,0.734),(2.347,0.73),(2.34,0.72),(2.337,0.714),(2.335,0.707),(2.333,0.692),(2.333,0.684),(2.333,0.498),(2.27,0.498),(2.27,0.498)], 0, ends="flush", simple_path=True, layer=1, datatype=0))  # L1_0
top.add(gdstk.FlexPath([(1.324,0.004),(1.324,0.036),(1.317,0.028),(1.298,0.014),(1.288,0.009),(1.277,0.005),(1.255,0),(1.244,0),(1.231,0),(1.217,0.003),(1.205,0.006),(1.195,0.012),(1.185,0.017),(1.168,0.031),(1.161,0.04),(1.154,0.049),(1.145,0.069),(1.143,0.079),(1.141,0.095),(1.14,0.111),(1.139,0.135),(1.139,0.159),(1.139,0.184),(1.14,0.208),(1.141,0.223),(1.143,0.238),(1.145,0.249),(1.154,0.269),(1.161,0.277),(1.168,0.286),(1.185,0.301),(1.195,0.306),(1.205,0.312),(1.217,0.315),(1.231,0.318),(1.244,0.318),(1.255,0.318),(1.277,0.313),(1.287,0.308),(1.297,0.302),(1.316,0.289),(1.324,0.281),(1.324,0.439),(1.387,0.439),(1.387,0.004),(1.324,0.004),(1.324,0.004)], 0, ends="flush", simple_path=True, layer=1, datatype=0))  # L1_0
top.add(gdstk.FlexPath([(0.434,0.556),(0.444,0.556),(0.454,0.558),(0.462,0.56),(0.469,0.564),(0.476,0.567),(0.485,0.579),(0.487,0.586),(0.491,0.603),(0.496,0.636),(0.496,0.653),(0.496,0.669),(0.491,0.703),(0.487,0.719),(0.485,0.726),(0.476,0.738),(0.469,0.742),(0.462,0.746),(0.454,0.747),(0.444,0.749),(0.434,0.749),(0.424,0.749),(0.414,0.747),(0.406,0.746),(0.399,0.741),(0.392,0.737),(0.383,0.725),(0.381,0.718),(0.377,0.702),(0.373,0.669),(0.373,0.653),(0.373,0.636),(0.377,0.603),(0.381,0.588),(0.383,0.58),(0.392,0.568),(0.399,0.564),(0.406,0.56),(0.414,0.558),(0.424,0.556),(0.434,0.556),(0.434,0.556)], 0, ends="flush", simple_path=True, layer=1, datatype=0))  # L1_0
top.add(gdstk.FlexPath([(3,0.629),(2.806,0.629),(2.806,0.621),(2.809,0.604),(2.812,0.596),(2.814,0.589),(2.822,0.577),(2.827,0.572),(2.832,0.567),(2.844,0.56),(2.851,0.557),(2.858,0.555),(2.873,0.553),(2.88,0.553),(2.89,0.553),(2.908,0.556),(2.917,0.56),(2.926,0.564),(2.942,0.576),(2.948,0.583),(2.994,0.544),(2.983,0.531),(2.969,0.521),(2.956,0.512),(2.942,0.506),(2.927,0.5),(2.897,0.494),(2.881,0.494),(2.869,0.494),(2.846,0.498),(2.834,0.502),(2.822,0.506),(2.799,0.518),(2.789,0.525),(2.783,0.529),(2.773,0.539),(2.769,0.545),(2.765,0.551),(2.758,0.565),(2.755,0.572),(2.749,0.59),(2.747,0.608),(2.744,0.63),(2.744,0.652),(2.744,0.673),(2.747,0.694),(2.749,0.711),(2.754,0.728),(2.759,0.743),(2.767,0.756),(2.771,0.762),(2.78,0.773),(2.785,0.777),(2.795,0.785),(2.816,0.798),(2.828,0.803),(2.838,0.807),(2.861,0.812),(2.872,0.812),(2.884,0.812),(2.908,0.807),(2.92,0.803),(2.931,0.798),(2.952,0.785),(2.961,0.776),(2.971,0.768),(2.985,0.746),(2.99,0.735),(2.995,0.722),(3,0.694),(3,0.681),(3,0.629),(3,0.629)], 0, ends="flush", simple_path=True, layer=1, datatype=0))  # L1_0
top.add(gdstk.FlexPath([(1.336,0.549),(1.379,0.593),(1.389,0.583),(1.411,0.568),(1.424,0.563),(1.437,0.558),(1.463,0.553),(1.477,0.553),(1.489,0.553),(1.501,0.555),(1.512,0.557),(1.521,0.563),(1.525,0.565),(1.531,0.571),(1.534,0.575),(1.536,0.579),(1.538,0.588),(1.538,0.593),(1.538,0.599),(1.536,0.605),(1.533,0.61),(1.529,0.614),(1.523,0.618),(1.517,0.62),(1.509,0.622),(1.5,0.623),(1.445,0.628),(1.436,0.629),(1.418,0.633),(1.41,0.636),(1.402,0.639),(1.388,0.648),(1.381,0.653),(1.375,0.659),(1.365,0.673),(1.362,0.68),(1.359,0.689),(1.356,0.707),(1.356,0.716),(1.356,0.727),(1.36,0.748),(1.364,0.757),(1.368,0.766),(1.381,0.782),(1.389,0.787),(1.397,0.794),(1.416,0.803),(1.426,0.806),(1.437,0.809),(1.46,0.812),(1.472,0.812),(1.49,0.812),(1.509,0.809),(1.526,0.806),(1.541,0.8),(1.555,0.795),(1.581,0.779),(1.593,0.769),(1.555,0.724),(1.546,0.73),(1.526,0.741),(1.516,0.745),(1.506,0.749),(1.483,0.753),(1.472,0.753),(1.459,0.753),(1.446,0.75),(1.442,0.749),(1.433,0.745),(1.43,0.742),(1.424,0.737),(1.418,0.723),(1.418,0.715),(1.418,0.71),(1.42,0.706),(1.423,0.7),(1.427,0.697),(1.432,0.692),(1.439,0.69),(1.449,0.687),(1.459,0.686),(1.511,0.683),(1.522,0.682),(1.533,0.679),(1.543,0.677),(1.552,0.673),(1.56,0.67),(1.574,0.66),(1.58,0.653),(1.585,0.646),(1.593,0.632),(1.595,0.624),(1.598,0.615),(1.601,0.598),(1.601,0.59),(1.601,0.579),(1.596,0.558),(1.591,0.549),(1.586,0.54),(1.572,0.525),(1.563,0.519),(1.554,0.513),(1.533,0.503),(1.522,0.5),(1.51,0.497),(1.485,0.494),(1.472,0.494),(1.453,0.494),(1.417,0.501),(1.399,0.508),(1.381,0.515),(1.349,0.536),(1.336,0.549),(1.336,0.549)], 0, ends="flush", simple_path=True, layer=1, datatype=0))  # L1_0
top.add(gdstk.FlexPath([(2.806,0.681),(2.937,0.681),(2.937,0.689),(2.934,0.704),(2.932,0.712),(2.93,0.718),(2.922,0.729),(2.918,0.734),(2.913,0.739),(2.903,0.746),(2.897,0.748),(2.891,0.751),(2.878,0.753),(2.872,0.753),(2.865,0.753),(2.853,0.751),(2.847,0.748),(2.841,0.746),(2.83,0.739),(2.826,0.734),(2.821,0.729),(2.814,0.718),(2.812,0.712),(2.809,0.704),(2.807,0.689),(2.806,0.681),(2.806,0.681)], 0, ends="flush", simple_path=True, layer=1, datatype=0))  # L1_0
top.add(gdstk.FlexPath([(0.31,0.004),(0.31,0.808),(0.373,0.808),(0.373,0.775),(0.38,0.784),(0.399,0.798),(0.409,0.803),(0.419,0.807),(0.441,0.812),(0.453,0.812),(0.466,0.812),(0.479,0.809),(0.491,0.806),(0.502,0.8),(0.512,0.795),(0.529,0.78),(0.536,0.771),(0.542,0.763),(0.551,0.743),(0.553,0.732),(0.556,0.717),(0.557,0.701),(0.558,0.677),(0.558,0.653),(0.558,0.628),(0.557,0.604),(0.556,0.588),(0.553,0.573),(0.551,0.562),(0.542,0.543),(0.536,0.534),(0.529,0.525),(0.512,0.511),(0.502,0.505),(0.491,0.5),(0.479,0.497),(0.466,0.494),(0.453,0.494),(0.441,0.494),(0.419,0.499),(0.409,0.504),(0.399,0.509),(0.381,0.523),(0.373,0.531),(0.373,0.281),(0.374,0.281),(0.381,0.29),(0.398,0.304),(0.409,0.309),(0.419,0.313),(0.443,0.318),(0.455,0.318),(0.464,0.318),(0.482,0.314),(0.49,0.311),(0.499,0.307),(0.517,0.297),(0.524,0.29),(0.533,0.284),(0.545,0.266),(0.55,0.257),(0.554,0.246),(0.556,0.235),(0.558,0.223),(0.558,0.21),(0.558,0.004),(0.496,0.004),(0.496,0.189),(0.496,0.196),(0.493,0.21),(0.491,0.217),(0.489,0.223),(0.482,0.233),(0.478,0.238),(0.474,0.242),(0.464,0.249),(0.458,0.251),(0.453,0.253),(0.441,0.255),(0.434,0.255),(0.428,0.255),(0.416,0.253),(0.41,0.251),(0.404,0.249),(0.394,0.242),(0.39,0.238),(0.386,0.233),(0.379,0.223),(0.377,0.217),(0.375,0.21),(0.373,0.196),(0.373,0.189),(0.373,0.004),(0.31,0.004),(0.31,0.004)], 0, ends="flush", simple_path=True, layer=1, datatype=0))  # L1_0
top.add(gdstk.FlexPath([(1.633,1.692),(1.656,1.703),(1.699,1.731),(1.736,1.765),(1.768,1.805),(1.794,1.849),(1.812,1.897),(1.822,1.947),(1.825,1.998),(1.82,2.048),(1.807,2.098),(1.787,2.144),(1.76,2.187),(1.726,2.226),(1.687,2.258),(1.644,2.285),(1.596,2.304),(1.547,2.316),(1.496,2.32),(1.445,2.316),(1.396,2.304),(1.349,2.285),(1.305,2.258),(1.266,2.226),(1.232,2.187),(1.205,2.144),(1.185,2.098),(1.172,2.048),(1.167,1.998),(1.17,1.947),(1.18,1.897),(1.199,1.849),(1.224,1.805),(1.256,1.765),(1.293,1.731),(1.336,1.703),(1.359,1.692),(1.362,1.69),(1.367,1.684),(1.368,1.676),(1.366,1.673),(1.17,1.191),(1.168,1.187),(1.162,1.182),(1.154,1.181),(1.15,1.183),(1.043,1.227),(1.04,1.228),(1.032,1.228),(1.029,1.225),(0.794,1.066),(0.789,1.063),(0.779,1.064),(0.775,1.068),(0.574,1.269),(0.57,1.273),(0.569,1.284),(0.572,1.288),(0.731,1.523),(0.733,1.526),(0.734,1.534),(0.733,1.537),(0.636,1.771),(0.635,1.774),(0.629,1.779),(0.625,1.78),(0.346,1.834),(0.341,1.835),(0.334,1.843),(0.334,1.848),(0.334,2.132),(0.334,2.138),(0.341,2.146),(0.346,2.147),(0.625,2.201),(0.629,2.201),(0.635,2.206),(0.636,2.21),(0.733,2.443),(0.734,2.447),(0.733,2.454),(0.731,2.457),(0.572,2.692),(0.569,2.697),(0.57,2.708),(0.574,2.711),(0.775,2.912),(0.779,2.916),(0.789,2.917),(0.794,2.914),(1.029,2.755),(1.032,2.753),(1.04,2.752),(1.043,2.754),(1.277,2.85),(1.28,2.852),(1.285,2.858),(1.286,2.861),(1.339,3.14),(1.34,3.145),(1.349,3.152),(1.354,3.152),(1.638,3.152),(1.643,3.152),(1.652,3.145),(1.653,3.14),(1.707,2.861),(1.707,2.858),(1.712,2.852),(1.716,2.85),(1.949,2.754),(1.952,2.752),(1.96,2.753),(1.963,2.755),(2.198,2.914),(2.203,2.917),(2.213,2.916),(2.217,2.912),(2.418,2.711),(2.422,2.708),(2.423,2.697),(2.42,2.692),(2.261,2.457),(2.259,2.454),(2.258,2.447),(2.259,2.443),(2.356,2.21),(2.358,2.206),(2.363,2.201),(2.367,2.201),(2.646,2.147),(2.651,2.146),(2.658,2.138),(2.658,2.132),(2.658,1.848),(2.658,1.843),(2.651,1.835),(2.646,1.834),(2.367,1.78),(2.363,1.779),(2.358,1.774),(2.356,1.771),(2.259,1.537),(2.258,1.534),(2.259,1.526),(2.261,1.523),(2.42,1.288),(2.423,1.284),(2.422,1.273),(2.418,1.269),(2.217,1.068),(2.213,1.064),(2.203,1.063),(2.198,1.066),(1.963,1.225),(1.96,1.228),(1.952,1.228),(1.949,1.227),(1.842,1.183),(1.838,1.181),(1.83,1.182),(1.824,1.187),(1.822,1.191),(1.626,1.673),(1.624,1.676),(1.625,1.684),(1.63,1.69),(1.633,1.692),(1.633,1.692)], 0, ends="flush", simple_path=True, layer=2, datatype=0))  # L2_0

lib.write_gds('TOP.gds')
